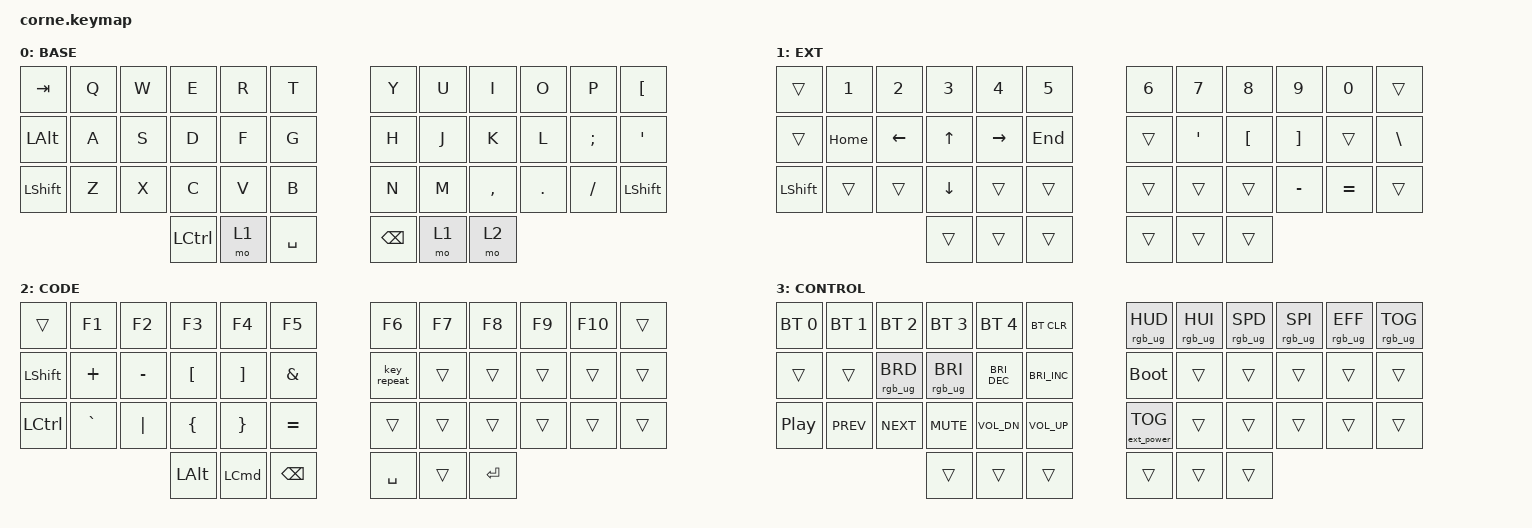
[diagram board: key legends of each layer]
#include <behaviors.dtsi>
#include <dt-bindings/zmk/bt.h>
#include <dt-bindings/zmk/ext_power.h>
#include <dt-bindings/zmk/keys.h>
#include <dt-bindings/zmk/rgb.h>

#define DEFAULT  0
#define LOWER    1
#define RAISE    2
#define CONTROL   3

// dt-formatter: indent = "  "
// dt-formatter: reindentMultilineIntegerCells = "dedent"

&led_strip {
  chain-length = <27>;

  // 21 backlight + 6 glowlight
};

/ {
  behaviors {
    hm: homerow_mods {
      compatible = "zmk,behavior-hold-tap";
      label = "HOMEROW_MODS";
      #binding-cells = <2>;
      tapping-term-ms = <150>;
      quick-tap-ms = <0>;
      flavor = "tap-preferred";
      bindings = <&kp>, <&kp>;
    };
  };

  combos {
    compatible = "zmk,combos";

    Capslock {
      bindings = <&caps_word>;
      key-positions = <17 18>;
    };

    Screenshot {
      bindings = <&kp LS(LG(N4))>;
      key-positions = <3 4>;
    };

    Fullzoom_Window {
      bindings = <&kp LS(LC(LG(ENTER)))>;
      key-positions = <1 2>;
    };

    Switch_Window {
      bindings = <&kp LG(GRAVE)>;
      key-positions = <25 26>;
    };

    Switch_Input_Source {
      bindings = <&kp LC(LA(SPACE))>;
      key-positions = <11 10>;
    };

    Space {
      bindings = <&kp SPACE>;
      key-positions = <28 29>;
    };

    LEnter {
      bindings = <&kp ENTER>;
      key-positions = <16 15>;
    };

    To_Layer1 {
      bindings = <&to 0>;
      key-positions = <0 1>;
    };

    To_Layer2 {
      bindings = <&to 1>;
      key-positions = <0 2>;
    };

    To_Layer3 {
      bindings = <&to 2>;
      key-positions = <0 3>;
    };

    To_Layer4 {
      bindings = <&to 3>;
      key-positions = <0 4>;
    };

    R_ENTER {
      bindings = <&kp ENTER>;
      key-positions = <19 20>;
    };

    win_space {
      bindings = <&kp LG(SPACE)>;
      key-positions = <17 38>;
    };
  };

  keymap {
    compatible = "zmk,keymap";

    base_layer {
      label = "BASE";
      bindings = <
&kp TAB         &kp Q  &kp W  &kp E      &kp R  &kp T        &kp Y     &kp U  &kp I      &kp O    &kp P     &kp LEFT_BRACKET
&kp LALT        &kp A  &kp S  &kp D      &kp F  &kp G        &kp H     &kp J  &kp K      &kp L    &kp SEMI  &kp SQT
&kp LEFT_SHIFT  &kp Z  &kp X  &kp C      &kp V  &kp B        &kp N     &kp M  &kp COMMA  &kp DOT  &kp FSLH  &kp LEFT_SHIFT
                              &kp LCTRL  &mo 1  &kp SPACE    &kp BSPC  &mo 1  &mo 2
      >;
    };

    extended_layer {
      label = "EXT";
      bindings = <
&trans          &kp N1    &kp N2    &kp N3          &kp N4     &kp N5     &kp N6  &kp N7   &kp N8            &kp N9             &kp N0     &trans
&trans          &kp HOME  &kp LEFT  &kp UP_ARROW    &kp RIGHT  &kp END    &trans  &kp SQT  &kp LEFT_BRACKET  &kp RIGHT_BRACKET  &trans     &kp BACKSLASH
&kp LEFT_SHIFT  &trans    &trans    &kp DOWN_ARROW  &trans     &trans     &trans  &trans   &trans            &kp MINUS          &kp EQUAL  &trans
                                    &trans          &trans     &trans     &trans  &trans   &trans
      >;
    };

    code_layer {
      label = "CODE";
      bindings = <
&trans     &kp F1     &kp F2     &kp F3          &kp F4            &kp F5           &kp F6       &kp F7  &kp F8     &kp F9  &kp F10  &trans
&kp LSHFT  &kp PLUS   &kp MINUS  &kp LBKT        &kp RBKT          &kp AMPS         &key_repeat  &trans  &trans     &trans  &trans   &trans
&kp LCTRL  &kp GRAVE  &kp PIPE   &kp LEFT_BRACE  &kp RIGHT_BRACE   &kp EQUAL        &trans       &trans  &trans     &trans  &trans   &trans
                                 &kp LEFT_ALT    &kp LEFT_COMMAND  &kp BACKSPACE    &kp SPACE    &trans  &kp ENTER
      >;
    };

    control_layer {
      label = "CONTROL";
      bindings = <
&bt BT_SEL 0      &bt BT_SEL 1  &bt BT_SEL 2     &bt BT_SEL 3     &bt BT_SEL 4          &bt BT_CLR              &rgb_ug RGB_HUD    &rgb_ug RGB_HUI  &rgb_ug RGB_SPD  &rgb_ug RGB_SPI  &rgb_ug RGB_EFF  &rgb_ug RGB_TOG
&trans            &trans        &rgb_ug RGB_BRD  &rgb_ug RGB_BRI  &kp C_BRIGHTNESS_DEC  &kp C_BRIGHTNESS_INC    &bootloader        &trans           &trans           &trans           &trans           &trans
&kp C_PLAY_PAUSE  &kp C_PREV    &kp C_NEXT       &kp K_MUTE       &kp C_VOL_DN          &kp C_VOL_UP            &ext_power EP_TOG  &trans           &trans           &trans           &trans           &trans
                                                 &trans           &trans                &trans                  &trans             &trans           &trans
      >;
    };
  };
};
